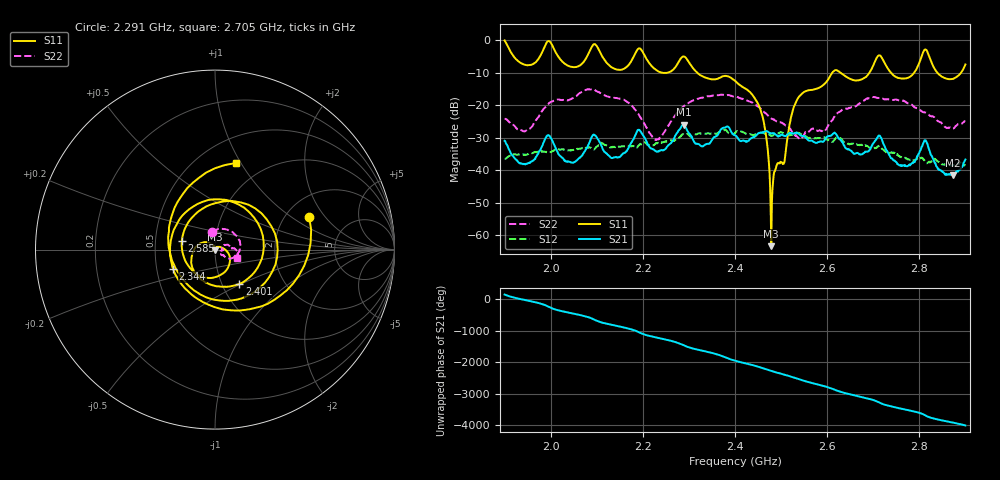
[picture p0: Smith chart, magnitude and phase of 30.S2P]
! C:\Users\rflab\Downloads\Lab5_KD_ZW\30.S2P
! Touchstone 1.1 file saved by VNA.EXE V1.65 (www.ke5fx.com/gpib/readme.htm)
! 11/11/2024 11:37:33 PM
!  Source: HEWLETT PACKARD,8753D,0,6.14
!  Min freq: 1.900000E+009 Hz
!  Max freq: 2.900000E+009 Hz
!  Points: 801
!  Params: S11 S21 S12 S22
# GHZ S RI R 50
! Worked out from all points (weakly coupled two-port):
!   801 points, 1.9 GHz to 2.9 GHz, reference 50 ohm
!   highest |S21| = -25.90 dB at 2.289 GHz (marker M1); lowest = -41.6 dB at 2.874 GHz (marker M2)
!   lowest |S11| = -63.3 dB at 2.479 GHz (marker M3), VSWR 1.00, Z = 50 - j0.061 ohm
!   |S11| at or under -10 dB: 2.318 GHz to 2.611 GHz (292.1 MHz wide, 11.9 % of centre); 2.629 GHz to 2.692 GHz (62.14 MHz wide, 2.34 % of centre); 2.839 GHz to 2.89 GHz (50.8 MHz wide, 1.77 % of centre) (the widest 3 of 5)
!   |S22| runs from -30.6 to -15.1 dB; largest |S21 - S12| = 0.019
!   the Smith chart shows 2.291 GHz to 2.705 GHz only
!   S11 on the Smith chart (normalised r, x): 2.291 GHz: 2.66, +1.41; 2.344 GHz: 0.61, -0.14; 2.401 GHz: 1.20, -0.49; 2.585 GHz: 0.69, +0.07; 2.705 GHz: 0.74, +0.95
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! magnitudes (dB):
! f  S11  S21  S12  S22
! 1.9 GHz  0.0  -30.9  -36.4  -24.1
! 1.945 GHz  -7.6  -38.2  -35.1  -27.9
! 1.994 GHz  -0.3  -29.3  -34.4  -19.7
! 2.067 GHz  -7.2  -35.5  -33.3  -15.9
! 2.191 GHz  -2.5  -27.5  -32.2  -22.8
! 2.234 GHz  -9.6  -34.1  -31.5  -30.5
! 2.289 GHz  -5.0  -25.9  -28.9  -20.2
! 2.291 GHz  -5.1  -26.3  -29.0  -19.9
! 2.344 GHz  -11.8  -31.8  -28.6  -17.2
! 2.4 GHz  -12.4  -29.2  -28.5  -17.3
! 2.401 GHz  -12.6  -29.3  -28.3  -17.3
! 2.456 GHz  -21.8  -28.4  -28.4  -21.1
! 2.479 GHz  -63.3  -28.6  -29.4  -24.0
! 2.53 GHz  -19.7  -28.5  -28.8  -29.3
! 2.567 GHz  -15.2  -30.9  -30.1  -27.2
! 2.585 GHz  -14.4  -31.1  -30.1  -27.7
! 2.705 GHz  -6.1  -30.8  -33.1  -17.5
! 2.734 GHz  -9.1  -35.1  -34.6  -18.1
! 2.777 GHz  -11.4  -38.3  -36.7  -19.4
! 2.814 GHz  -2.8  -30.7  -37.5  -22.2
! 2.874 GHz  -11.8  -41.6  -38.6  -27.1
! 2.9 GHz  -7.4  -36.7  -38.1  -24.8
